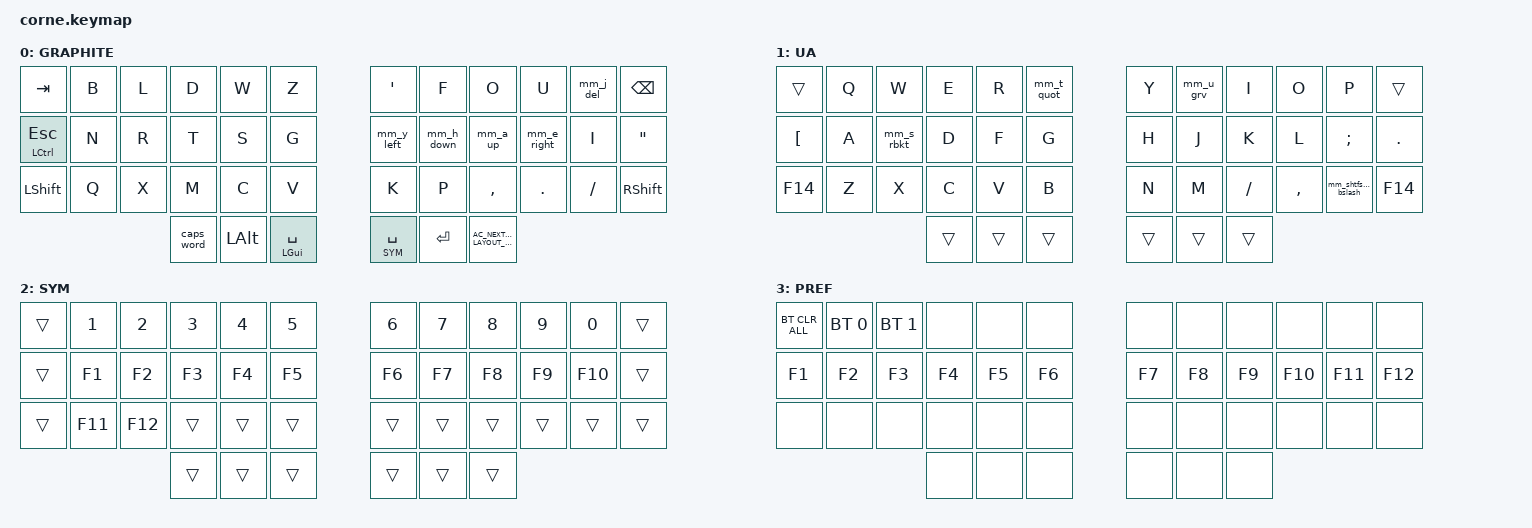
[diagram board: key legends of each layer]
#include <behaviors.dtsi>
#include <dt-bindings/zmk/bt.h>
#include <dt-bindings/zmk/keys.h>

#define GRAPHITE 0
#define UA 1
#define SYM 2
#define PREF 3

/ {
    behaviors {
        mm_comma_semi: mm_comma_semi {
            compatible = "zmk,behavior-mod-morph";
            bindings = <&kp COMMA>, <&kp SEMI>;

            #binding-cells = <0>;
            mods = <(MOD_LSFT)>;
        };

        mm_dot_col: mm_dot_col {
            compatible = "zmk,behavior-mod-morph";
            bindings = <&kp DOT>, <&kp COLON>;

            #binding-cells = <0>;
            mods = <(MOD_LSFT)>;
        };

        mm_pipe_bslh: mm_pipe_bslh {
            compatible = "zmk,behavior-mod-morph";
            bindings = <&kp PIPE>, <&kp BACKSLASH>;

            #binding-cells = <0>;
            mods = <(MOD_LSFT)>;
        };

        mm_lbkt_lbrace: mm_lbkt_lbrace {
            compatible = "zmk,behavior-mod-morph";
            bindings = <&kp LBKT>, <&kp LEFT_BRACE>;

            #binding-cells = <0>;
            mods = <(MOD_LSFT)>;
        };

        mm_lpr_hash: mm_lpr_hash {
            compatible = "zmk,behavior-mod-morph";
            bindings = <&kp LS(N9)>, <&kp LS(N3)>;

            #binding-cells = <0>;
            mods = <(MOD_LSFT)>;
        };

        mm_lcbr_dollar: mm_lcbr_dollar {
            compatible = "zmk,behavior-mod-morph";
            bindings = <&kp LS(LBKT)>, <&kp LS(N4)>;

            #binding-cells = <0>;
            mods = <(MOD_LSFT)>;
        };

        mm_rcbr_amp: mm_rcbr_amp {
            compatible = "zmk,behavior-mod-morph";
            bindings = <&kp LS(RBKT)>, <&kp LS(N7)>;

            #binding-cells = <0>;
            mods = <(MOD_LSFT)>;
        };

        mm_rpr_star: mm_rpr_star {
            compatible = "zmk,behavior-mod-morph";
            bindings = <&kp LS(N0)>, <&kp LS(N8)>;

            #binding-cells = <0>;
            mods = <(MOD_LSFT)>;
        };

        mm_rbkt: mm_rbkt {
            compatible = "zmk,behavior-mod-morph";
            bindings = <&kp RBKT>, <&kp LS(RBKT)>;

            #binding-cells = <0>;
            mods = <(MOD_LSFT)>;
        };

        mm_n3_left: mm_n3_left {
            compatible = "zmk,behavior-mod-morph";
            bindings = <&kp N3>, <&kp LEFT>;

            #binding-cells = <0>;
            mods = <(MOD_LSFT)>;
        };

        mm_n4_right: mm_n4_right {
            compatible = "zmk,behavior-mod-morph";
            bindings = <&kp N4>, <&kp RIGHT>;

            #binding-cells = <0>;
            mods = <(MOD_LSFT)>;
        };

        mm_n7_down: mm_n7_down {
            compatible = "zmk,behavior-mod-morph";
            bindings = <&kp N7>, <&kp DOWN>;

            #binding-cells = <0>;
            mods = <(MOD_LSFT)>;
        };

        mm_n8_up: mm_n8_up {
            compatible = "zmk,behavior-mod-morph";
            bindings = <&kp N8>, <&kp UP>;

            #binding-cells = <0>;
            mods = <(MOD_LSFT)>;
        };

        mm_n9_lt: mm_n9_lt {
            compatible = "zmk,behavior-mod-morph";
            bindings = <&kp N9>, <&kp LESS_THAN>;

            #binding-cells = <0>;
            mods = <(MOD_LSFT)>;
        };

        mm_n0_gt: mm_n0_gt {
            compatible = "zmk,behavior-mod-morph";
            bindings = <&kp N0>, <&kp GREATER_THAN>;

            #binding-cells = <0>;
            mods = <(MOD_LSFT)>;
        };

        mm_t_quot: mm_t_quot {
            compatible = "zmk,behavior-mod-morph";
            bindings = <&kp T>, <&kp SINGLE_QUOTE>;

            #binding-cells = <0>;
            mods = <(MOD_LSFT)>;
        };

        mm_s_rbkt: mm_s_rbkt {
            compatible = "zmk,behavior-mod-morph";
            bindings = <&kp S>, <&kp RBKT>;

            #binding-cells = <0>;
            mods = <(MOD_LSFT)>;
        };

        mm_u_grv: mm_u_grv {
            compatible = "zmk,behavior-mod-morph";
            bindings = <&kp U>, <&kp GRAVE>;

            #binding-cells = <0>;
            mods = <(MOD_LSFT)>;
        };

        mm_comma_bslh: mm_comma_bslh {
            compatible = "zmk,behavior-mod-morph";
            bindings = <&kp COMMA>, <&kp BSLH>;

            #binding-cells = <0>;
            mods = <(MOD_LSFT)>;
        };

        mm_shtfslash_bslash: mm_shtfslash_bslash {
            compatible = "zmk,behavior-mod-morph";
            bindings = <&kp LS(SLASH)>, <&kp BSLH>;

            #binding-cells = <0>;
            mods = <(MOD_LSFT)>;
        };

        mm_y_left: mm_y_left {
            compatible = "zmk,behavior-mod-morph";
            bindings = <&kp Y>, <&kp LEFT>;
            #binding-cells = <0>;
            mods = <(MOD_LCTL)>;
        };

        mm_h_down: mm_h_down {
            compatible = "zmk,behavior-mod-morph";
            bindings = <&kp H>, <&kp DOWN>;
            #binding-cells = <0>;
            mods = <(MOD_LCTL)>;
        };

        mm_a_up: mm_a_up {
            compatible = "zmk,behavior-mod-morph";
            bindings = <&kp A>, <&kp UP>;
            #binding-cells = <0>;
            mods = <(MOD_LCTL)>;
        };

        mm_e_right: mm_e_right {
            compatible = "zmk,behavior-mod-morph";
            bindings = <&kp E>, <&kp RIGHT>;
            #binding-cells = <0>;
            mods = <(MOD_LCTL)>;
        };

        mm_j_bspc: mm_j_bspc {
            compatible = "zmk,behavior-mod-morph";
            bindings = <&kp J>, <&kp BSPC>;
            #binding-cells = <0>;
            mods = <(MOD_LCTL)>;
        };

        mm_j_del: mm_j_del {
            compatible = "zmk,behavior-mod-morph";
            bindings = <&mm_j_bspc>, <&kp DEL>;
            #binding-cells = <0>;
            mods = <(MOD_LGUI|MOD_LCTL)>;
        };
    };

    combos {
        compatible = "zmk,combos";

        left_index_home_top_ctrl {
            bindings = <&sk LCTRL>;
            key-positions = <4 16>;
            layers = <0 2>;
            timeout-ms = <50>;
        };

        left_middle_home_top_cmd {
            bindings = <&sk LGUI>;
            key-positions = <15 3>;
            layers = <0 2>;
            timeout-ms = <50>;
        };

        left_ring_home_top_opt {
            bindings = <&sk LALT>;
            key-positions = <14 2>;
            layers = <0 1 2>;
            timeout-ms = <50>;
        };

        right_index_home_top_ctrl {
            bindings = <&sk RCTRL>;
            key-positions = <7 19>;
            layers = <0 2>;
            timeout-ms = <50>;
        };

        right_middle_home_top_cmd {
            bindings = <&sk RGUI>;
            key-positions = <8 20>;
            layers = <0 2>;
            timeout-ms = <50>;
        };

        right_ring_home_top_opt {
            bindings = <&sk RALT>;
            key-positions = <9 21>;
            layers = <0 1 2>;
            timeout-ms = <50>;
        };

        vukeys_to_ua {
            bindings = <&m_f14_ua>;
            key-positions = <38 39>;
            layers = <0>;
            timeout-ms = <80>;
        };

        ua_to_vukeys {
            bindings = <&m_f14_vukeys>;
            key-positions = <38 39>;
            layers = <1>;
            timeout-ms = <80>;
        };

        pwd_l {
            bindings = <&pwd>;
            key-positions = <0 5>;
        };

        zmk_r {
            bindings = <&pwd>;
            key-positions = <6 11>;
        };
    };

    macros {
        m_f14_ua: m_f14_ua {
            compatible = "zmk,behavior-macro";
            #binding-cells = <0>;
            bindings = <&kp F14 &to 1>;
            wait-ms = <30>;
            tap-ms = <40>;
        };

        m_f14_vukeys: m_f14_vukeys {
            compatible = "zmk,behavior-macro";
            #binding-cells = <0>;
            bindings = <&kp F14 &to 0>;
            wait-ms = <30>;
            tap-ms = <40>;
        };

        pwd: pwd {
            compatible = "zmk,behavior-macro";
            #binding-cells = <0>;
            bindings = <&kp A>;
            label = "PWD";
        };
    };

    keymap {
        compatible = "zmk,keymap";

        GRAPHITE {
            bindings = <
&kp TAB           &kp B  &kp L  &kp D       &kp W     &kp Z              &kp SQT      &kp F      &kp O      &kp U      &mm_j_del   &kp BSPC
&mt LCTRL ESC     &kp N  &kp R  &kp T       &kp S     &kp G              &mm_y_left   &mm_h_down &mm_a_up   &mm_e_right &kp I       &kp DQT
&kp LSHIFT        &kp Q  &kp X  &kp M       &kp C     &kp V              &kp K        &kp P      &kp COMMA  &kp DOT     &kp SLASH   &kp RSHIFT
                                &caps_word  &kp LALT  &mt LGUI SPACE     &lt SYM SPACE  &kp RET    &kp C_AC_NEXT_KEYBOARD_LAYOUT_SELECT
            >;
        };

        UA {
            bindings = <
&trans    &kp Q  &kp W       &kp E   &kp R   &mm_t_quot    &kp Y   &mm_u_grv  &kp I      &kp O      &kp P                 &trans
&kp LBKT  &kp A  &mm_s_rbkt  &kp D   &kp F   &kp G         &kp H   &kp J      &kp K      &kp L      &kp SEMI              &kp DOT
&kp F14   &kp Z  &kp X       &kp C   &kp V   &kp B         &kp N   &kp M      &kp SLASH  &kp COMMA  &mm_shtfslash_bslash  &kp F14
                             &trans  &trans  &trans        &trans  &trans     &trans
            >;
        };

        SYM {
            bindings = <
&trans  &kp N1   &kp N2   &kp N3   &kp N4   &kp N5     &kp N6   &kp N7   &kp N8   &kp N9   &kp N0   &trans
&trans  &kp F1   &kp F2   &kp F3   &kp F4   &kp F5     &kp F6   &kp F7   &kp F8   &kp F9   &kp F10  &trans
&trans  &kp F11  &kp F12  &trans   &trans   &trans     &trans   &trans   &trans   &trans   &trans   &trans
                          &trans   &trans   &trans     &trans   &trans   &trans
            >;
        };

        PREF {
            bindings = <
&bt BT_CLR_ALL  &bt BT_SEL 0  &bt BT_SEL 1  &none   &none   &none     &none   &none   &none   &none    &none    &none
&kp F1          &kp F2        &kp F3        &kp F4  &kp F5  &kp F6    &kp F7  &kp F8  &kp F9  &kp F10  &kp F11  &kp F12
&none           &none         &none         &none   &none   &none     &none   &none   &none   &none    &none    &none
                                            &none   &none   &none     &none   &none   &none
            >;
        };
    };
};
